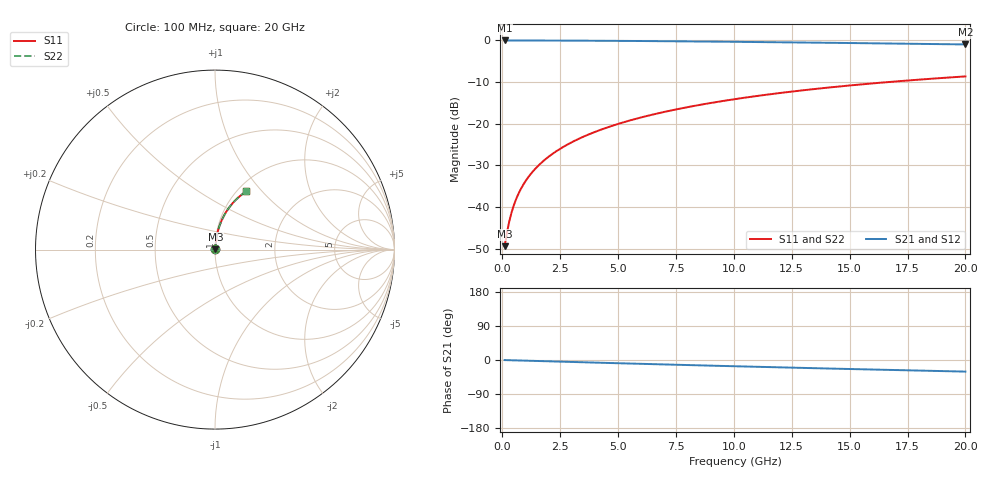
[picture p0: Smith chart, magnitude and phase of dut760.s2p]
! Touchstone file exported from HFSS 2024.1.0
!  File:  C:/UserFiles/LocalFiles/RDL_TSV_Batchsim/temp_RDL_bottom_760_1779860177.aedt
!  Generated:  01:39:05 PM May 27, 2026
!  Design:  RDL_bottom
!  Project:  temp_RDL_bottom_760_1779860177
!  Setup:  Setup1
!  Solution:  Sweep
! Variables:
!  dtsv = 10.80580581um
!  hbump = 3um
!  htsv = 90.14um
!  ldown = 367.54um
!  lrdl = 100um
!  p = 40
!  p1 = 49.6um
!  rhole = 1um
!  t = 450um
!  tdown = 4.09um
!  trdl = 3.915915916um
!  wdown = 12.29um
!  wrdl = 20um
# GHz S MA R 50.000000
! Terminal data exported
! Port[1] = RDL1_T1
! Port[2] = RDL1_T2
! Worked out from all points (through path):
!   200 points, 100 MHz to 20 GHz, reference 50 ohm
!   highest |S21| = -0.02 dB at 100 MHz (marker M1); lowest = -1.0 dB at 20 GHz (marker M2)
!   group delay of S21, straight-line fit = 4.25 ps
!   lowest |S11| = -49.4 dB at 100 MHz (marker M3), VSWR 1.01, Z = 50.3 + j0.207 ohm
!   |S11| at or under -10 dB: start of sweep to 16.69 GHz
!   |S22| runs from -49.4 to -8.7 dB; largest |S21 - S12| = 2e-15
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0.1  0.003385 37.4  0.9973 -0.2  0.9973 -0.2  0.003385 37.4
! Gamma 0 0 0 0
! Port Impedance 50 0 50 0
0.2  0.004898 56.7  0.9973 -0.4  0.9973 -0.4  0.004898 56.7
0.3  0.006689 66.1  0.9972 -0.5  0.9972 -0.5  0.006689 66.1
0.4  0.008582 71.3  0.9971 -0.7  0.9971 -0.7  0.008582 71.3
0.5  0.01052 74.5  0.997 -0.9  0.997 -0.9  0.01052 74.5
0.6  0.01248 76.6  0.9969 -1.1  0.9969 -1.1  0.01248 76.6
0.8  0.01642 79.2  0.9967 -1.4  0.9967 -1.4  0.01642 79.2
1.1  0.02235 81.1  0.9964 -1.9  0.9964 -1.9  0.02235 81.1
1.5  0.03025 82.3  0.9959 -2.6  0.9959 -2.6  0.03025 82.3
1.8  0.03617 82.8  0.9954 -3.1  0.9954 -3.1  0.03617 82.8
2.1  0.04209 83.0  0.9949 -3.6  0.9949 -3.6  0.04209 83.0
2.7  0.05392 83.0  0.9936 -4.7  0.9936 -4.7  0.05392 83.0
3.5  0.06971 82.6  0.9914 -6.0  0.9914 -6.0  0.06971 82.6
4.2  0.08351 82.1  0.9891 -7.2  0.9891 -7.2  0.08351 82.1
5  0.09927 81.3  0.9861 -8.5  0.9861 -8.5  0.09927 81.3
5.9  0.1169 80.3  0.9823 -10.0  0.9823 -10.0  0.1169 80.3
6.8  0.1346 79.3  0.9782 -11.5  0.9782 -11.5  0.1345 79.3
8.3  0.1637 77.4  0.9705 -13.8  0.9705 -13.8  0.1637 77.4
10.1  0.1981 75.0  0.9604 -16.6  0.9604 -16.6  0.1981 75.0
13.4  0.2591 70.5  0.9398 -21.5  0.9398 -21.5  0.2591 70.5
16.7  0.3164 66.0  0.9173 -26.2  0.9173 -26.2  0.3164 66.0
20  0.3693 61.6  0.8935 -30.6  0.8935 -30.6  0.3693 61.7
